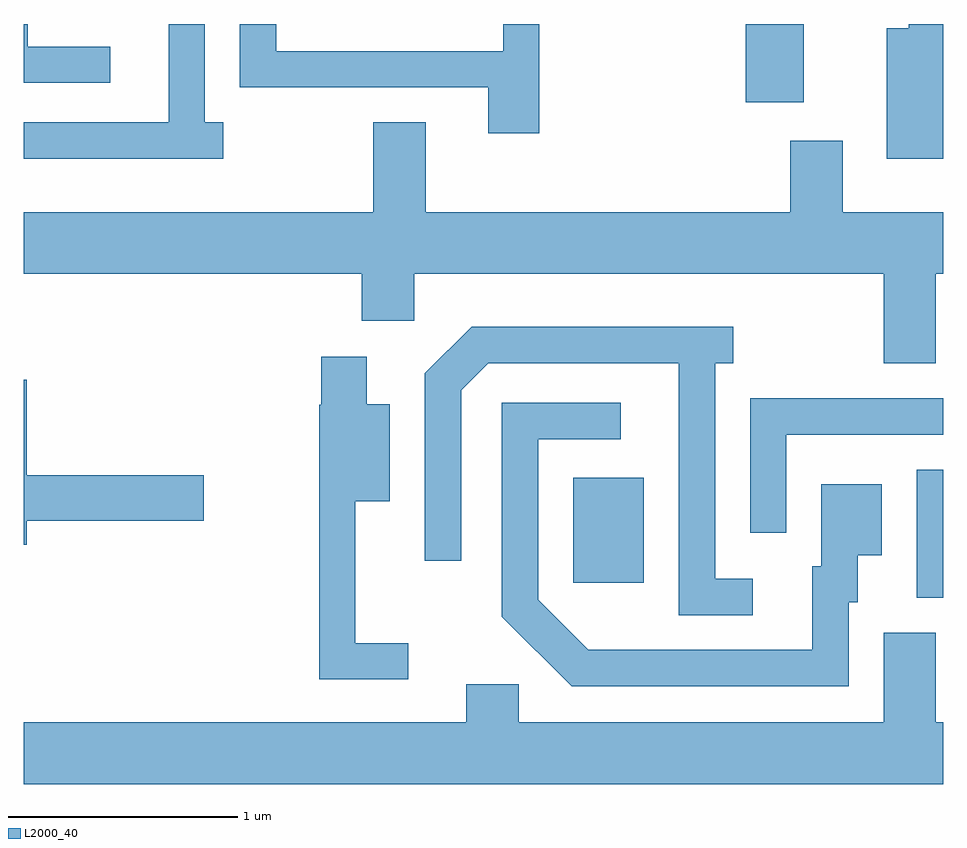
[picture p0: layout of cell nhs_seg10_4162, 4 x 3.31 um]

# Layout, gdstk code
import gdstk
lib = gdstk.Library(unit=1e-6, precision=1e-09)
def R(c, l, rs):  # rectangles x0, y0, x1, y1
    for r in rs: c.add(gdstk.rectangle(r[:2], r[2:], *l))
def P(c, l, *ps):  # polygons
    for p in ps: c.add(gdstk.Polygon(p, *l))
L2000_40 = (2000, 40)

nhs_seg10_4162 = lib.new_cell('nhs_seg10_4162')
R(nhs_seg10_4162, L2000_40, [(311.496,2148.026,311.611,2148.584), (310.001,2148.091,310.309,2148.549), (310.751,2150.181,311.004,2150.522)])
P(nhs_seg10_4162, L2000_40, [(307.988,2150.424),(307.629,2150.424),(307.629,2150.522),(307.611,2150.522),(307.611,2150.266),(307.988,2150.266)],
  [(309.854,2150.522),(309.696,2150.522),(309.696,2150.404),(308.709,2150.404),(308.709,2150.522),(308.551,2150.522),(308.551,2150.246),(309.631,2150.246),(309.631,2150.046),(309.854,2150.046)],
  [(308.478,2150.094),(308.399,2150.094),(308.399,2150.522),(308.241,2150.522),(308.241,2150.094),(307.611,2150.094),(307.611,2149.936),(308.478,2149.936)],
  [(311.611,2150.522),(311.461,2150.522),(311.461,2150.504),(311.366,2150.504),(311.366,2149.936),(311.611,2149.936)],
  [(311.579,2149.436),(311.611,2149.436),(311.611,2149.704),(311.174,2149.704),(311.174,2150.014),(310.946,2150.014),(310.946,2149.704),(309.359,2149.704),(309.359,2150.094),(309.131,2150.094),(309.131,2149.704),(307.611,2149.704),(307.611,2149.436),(309.081,2149.436),(309.081,2149.231),(309.309,2149.231),(309.309,2149.436),(311.351,2149.436),(311.351,2149.046),(311.579,2149.046)],
  [(310.783,2148.109),(310.619,2148.109),(310.619,2149.046),(310.698,2149.046),(310.698,2149.204),(309.559,2149.204),(309.356,2149.002),(309.356,2148.188),(309.514,2148.188),(309.514,2148.929),(309.632,2149.046),(310.461,2149.046),(310.461,2147.951),(310.783,2147.951)],
  [(309.283,2147.829),(309.054,2147.829),(309.054,2148.446),(309.204,2148.446),(309.204,2148.869),(309.104,2148.869),(309.104,2149.074),(308.906,2149.074),(308.906,2148.865),(308.896,2148.865),(308.896,2147.671),(309.283,2147.671)],
  [(307.624,2148.361),(308.394,2148.361),(308.394,2148.559),(307.624,2148.559),(307.624,2148.974),(307.611,2148.974),(307.611,2148.256),(307.624,2148.256)],
  [(310.929,2148.736),(311.611,2148.736),(311.611,2148.894),(310.771,2148.894),(310.771,2148.308),(310.929,2148.308)],
  [(311.199,2148.006),(311.239,2148.006),(311.239,2148.211),(311.344,2148.211),(311.344,2148.519),(311.081,2148.519),(311.081,2148.164),(311.041,2148.164),(311.041,2147.799),(310.067,2147.799),(309.849,2148.017),(309.849,2148.716),(310.208,2148.716),(310.208,2148.874),(309.691,2148.874),(309.691,2147.944),(309.994,2147.641),(311.199,2147.641)],
  [(311.611,2147.484),(311.579,2147.484),(311.579,2147.874),(311.351,2147.874),(311.351,2147.484),(309.764,2147.484),(309.764,2147.649),(309.536,2147.649),(309.536,2147.484),(307.611,2147.484),(307.611,2147.216),(311.611,2147.216)])

lib.write_gds('nhs_seg10_4162.gds')
